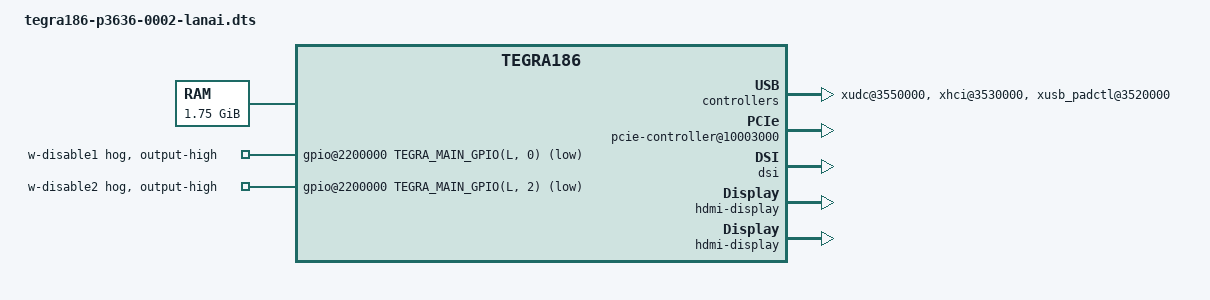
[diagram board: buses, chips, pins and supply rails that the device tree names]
/*
 * tegra186-p3636-0002-lanai.dts  : Lanai A00 Board
 *
 * Copyright (c) 2020, NVIDIA CORPORATION. All rights reserved.
 *
 * This program is free software; you can redistribute it and/or modify
 * it under the terms of the GNU General Public License as published by
 * the Free Software Foundation; version 2 of the License.
 *
 * This program is distributed in the hope that it will be useful, but WITHOUT
 * ANY WARRANTY; without even the implied warranty of MERCHANTABILITY or
 * FITNESS FOR A PARTICULAR PURPOSE.  See the GNU General Public License for
 * more details.
 */
#include "common/tegra186-p3636-0001-common.dtsi"
#include "common/tegra186-p3509-0000-cvb.dtsi"
#include "common/tegra186-p3509-0000-a00-fixed-regulator.dtsi"
#include "common/tegra186-p3636-0001-a00-prod.dtsi"

/* plugin manager */
#include "common/tegra186-p3636-plugin-manager.dtsi"

/ {
	compatible = "nvidia,lanai", "nvidia,p3636-0002-lanai", "nvidia,tegra186";

	nvidia,dtsfilename = __FILE__;
	nvidia,boardids = "3636:0002:A0";
	nvidia,proc-boardid = "3636:0002:A0";
	nvidia,fastboot-usb-vid = <0x0955>;
	nvidia,fastboot-usb-pid = <0xee16>;

	chosen {
		board-has-eeprom;
		bootargs ="console=ttyS0,115200";
		stdout-path = &uarta;
		nvidia,tegra-joint_xpu_rail;
	};

	memory@80000000 {
		device_type = "memory";
		reg = <0x0 0x80000000 0x0 0x70000000>;
	};

	xudc@3550000 {
		status = "okay";
		phys = <&{/xusb_padctl@3520000/pads/usb2/lanes/usb2-0}>;
		phy-names = "usb2";
		nvidia,boost-cpu-freq = <1200>;
	};

	usb_cd {
		status = "disabled";
		phys = <&{/xusb_padctl@3520000/pads/usb2/lanes/usb2-0}>;
		phy-names = "otg-phy";
		nvidia,xusb-padctl = <&xusb_padctl>;
	};

	xhci@3530000 {
		status = "okay";
		phys = <&{/xusb_padctl@3520000/pads/usb2/lanes/usb2-0}>,
			<&{/xusb_padctl@3520000/pads/usb2/lanes/usb2-1}>,
			<&{/xusb_padctl@3520000/pads/usb2/lanes/usb2-2}>,
			<&{/xusb_padctl@3520000/pads/usb3/lanes/usb3-1}>;
		phy-names = "usb2-0", "usb2-1", "usb2-2", "usb3-1";
	};

	xusb_padctl@3520000 {
		status = "okay";

		pads {
			usb2 {
				lanes {
					usb2-0 {
						nvidia,function = "xusb";
						status = "okay";
					};
					usb2-1 {
						nvidia,function = "xusb";
						status = "okay";
					};
					usb2-2 {
						nvidia,function = "xusb";
						status = "okay";
					};
				};
			};
			usb3 {
				lanes {
					usb3-1 {
						nvidia,function = "xusb";
						status = "okay";
					};
				};
			};
		};

		ports {
			usb2-0 {
				status = "okay";
				mode = "otg";
			};
			usb2-1 {
				status = "okay";
				mode = "host";
			};
			usb2-2 {
				status = "okay";
				mode = "host";
			};
			usb3-1 {
				nvidia,usb2-companion = <1>;
				status = "okay";
			};
		};
	};

	pcie-controller@10003000 {
		status = "okay";
		pci@1,0 {
			nvidia,num-lanes = <2>;
			nvidia,disable-clock-request;
			status = "okay";
		};
		pci@2,0 {
			nvidia,num-lanes = <1>;
			nvidia,disable-clock-request;
			status = "okay";
		};
		pci@3,0 {
			nvidia,num-lanes = <1>;
			nvidia,disable-clock-request;
			status = "okay";
		};
	};

	/*  Enable PCIe wifi module */
	gpio@2200000 {
		w-disable1 {
			gpio-hog;
			output-high;
			gpios = <TEGRA_MAIN_GPIO(L, 0) GPIO_ACTIVE_LOW>;
			label = "w-disable1";
			status = "okay";
		};
		w-disable2 {
			gpio-hog;
			output-high;
			gpios = <TEGRA_MAIN_GPIO(L, 2) GPIO_ACTIVE_LOW>;
			label = "w-disable2";
			status = "okay";
		};
        };

	cpufreq@e070000 {
		cpu_emc_map =
			< 499200  204000>,
			< 652800  408000>,
			<1420800  665600>,
			<1920000 1600000>;
	};

	tegra_udrm: tegra_udrm {
		compatible = "nvidia,tegra-udrm";
	};

	host1x {
		nvdisplay@15200000 {
			status = "okay";
			bootloader-status = "disabled";
		};
		nvdisplay@15210000 {
			status = "okay";
		};
		nvdisplay@15220000 {
			status = "okay";
			bootloader-status = "disabled";
		};
		dsi {
			status = "okay";
			panel-a-wuxga-8-0 {
				status = "okay";
			};
		};
		sor {
			status = "okay";
			nvidia,active-panel = <&sor0_hdmi_display>;
			hdmi-display {
				status = "okay";
			};
			disp-default-out {
				nvidia,out-flags = <TEGRA_DC_OUT_HOTPLUG_HIGH>;
			};
		};
		sor1 {
			status = "okay";
			nvidia,active-panel = <&sor1_hdmi_display>;
			hdmi-display {
				status = "okay";
			};
		};
		dpaux@155c0000 {
			status = "okay";
		};
		dpaux@15040000 {
			status = "okay";
		};
	};

	backlight {
		status = "okay";
		panel-a-wuxga-8-0-bl {
			status = "okay";
		};
	};
};
#if LINUX_VERSION >= 414
#include <tegra186-linux-4.14.dtsi>
#endif
